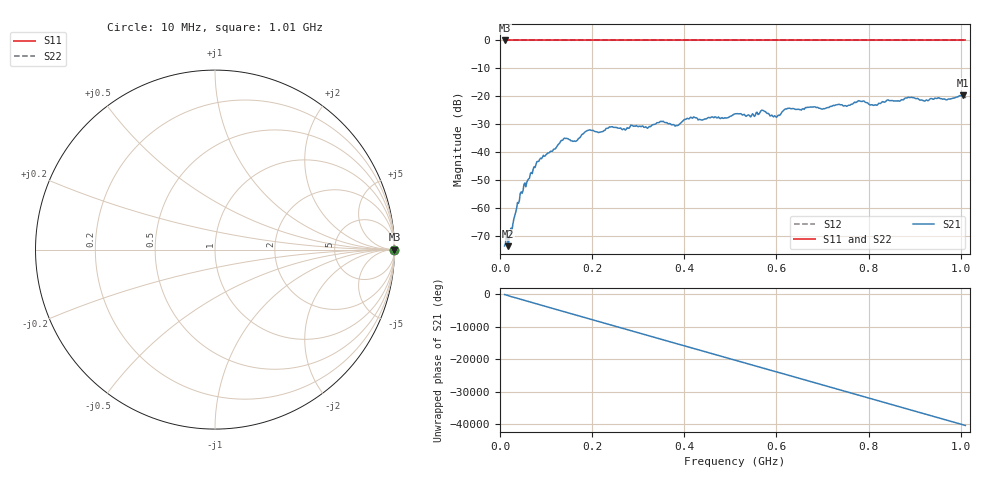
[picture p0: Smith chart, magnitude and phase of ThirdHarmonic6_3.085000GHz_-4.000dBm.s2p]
! 8/17/2025 9:03:20 AM
! C:\ANRITSUVNA\TEMP\TEMP.S2P
! CHANNEL.1
! TR.MEASUREMENT
! RAW.DATA
! RF.CORRECTION.OFF
! AVERAGING.OFF
! IF.BANDWIDTH: 5KHZ
! SWEEPTYPE:  FREQ.SWEEP(Linear)
! Reference Plane Port Info
! PORT:  PORT1  PORT2
! DISTANCE:  0  m  0  m
! TIME:  0  s  0  s
! PHASE.OFFSET:  0  deg.  0  deg.
! LOSS:  0  dB  0  dB
! REF.LOSS:  0  dB  0  dB
! REF.FREQ:  0  Hz  0  Hz
! Power Info
! POWER:  -20  dBm  -20  dBm
! EFF.POWER:  -20  dBm  -20  dBm
! SOURCE.ATTEN:  0  dB  0  dB
! TEST.ATTEN:  0  dB  0  dB
# GHZ S RI R 50.0
! FREQ.GHZ  S11RE  S11IM  S21RE  S21IM  S12RE  S12IM  S22RE  S22IM
!; PortSelection: Port_12
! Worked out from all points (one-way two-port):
!   501 points, 10 MHz to 1.01 GHz, reference 50 ohm
!   highest |S21| = -19.68 dB at 1.004 GHz (marker M1); lowest = -73.8 dB at 18 MHz (marker M2)
!   lowest |S11| = 0.0 dB at 10 MHz (marker M3)
!   |S11| at or under -10 dB: nowhere
!   |S22| runs from 0.0 to 0.0 dB; largest |S21 - S12| = 1.1
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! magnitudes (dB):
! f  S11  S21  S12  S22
! 10 MHz  0.0  -73.7  0.0  0.0
! 18 MHz  0.0  -73.8  0.0  0.0
! 22 MHz  0.0  -70.5  0.0  0.0
! 48 MHz  0.0  -54.8  0.0  0.0
! 82 MHz  0.0  -43.4  0.0  0.0
! 136 MHz  0.0  -35.8  0.0  0.0
! 162 MHz  0.0  -36.1  0.0  0.0
! 178 MHz  0.0  -33.7  0.0  0.0
! 192 MHz  0.0  -32.2  0.0  0.0
! 344 MHz  0.0  -29.5  0.0  0.0
! 384 MHz  0.0  -30.5  0.0  0.0
! 416 MHz  0.0  -27.8  0.0  0.0
! 510 MHz  0.0  -26.3  0.0  0.0
! 570 MHz  0.0  -25.0  0.0  0.0
! 598 MHz  0.0  -27.2  0.0  0.0
! 624 MHz  0.0  -24.3  0.0  0.0
! 678 MHz  0.0  -23.9  0.0  0.0
! 780 MHz  0.0  -21.6  0.0  0.0
! 814 MHz  0.0  -23.1  0.0  0.0
! 844 MHz  0.0  -21.5  0.0  0.0
! 1.004 GHz  0.0  -19.7  0.0  0.0
! 1.01 GHz  0.0  -20.4  0.0  0.0
